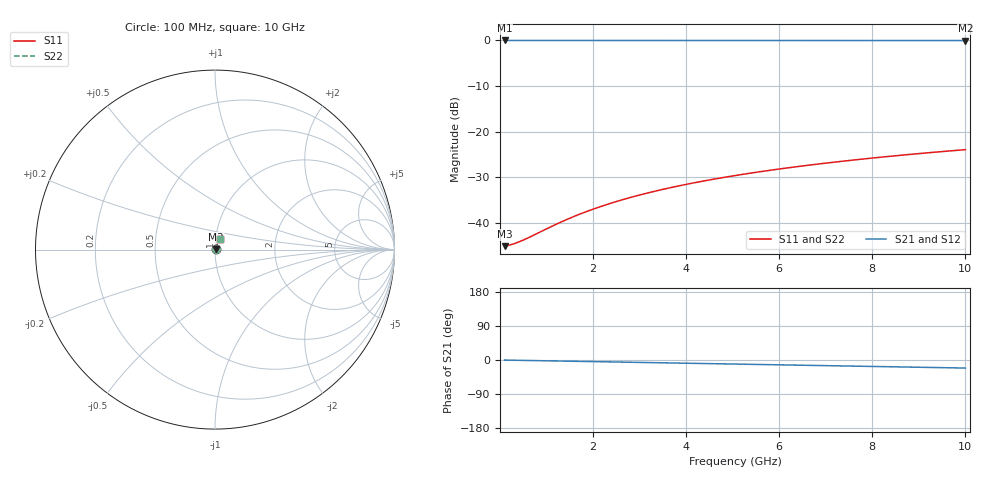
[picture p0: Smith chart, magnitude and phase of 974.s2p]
# Hz S RI R 50.00
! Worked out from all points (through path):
!   100 points, 100 MHz to 10 GHz, reference 50 ohm
!   highest |S21| = -0.05 dB at 100 MHz (marker M1); lowest = -0.1 dB at 10 GHz (marker M2)
!   group delay of S21, straight-line fit = 5.9 ps
!   lowest |S11| = -45.0 dB at 100 MHz (marker M3), VSWR 1.01, Z = 50.6 + j0.0637 ohm
!   |S11| at or under -10 dB: start of sweep to end of sweep
!   |S22| runs from -45.0 to -23.9 dB; largest |S21 - S12| = 0
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1e8  0.00558 0.00063  0.9944 -0.00369  0.9944 -0.00369  0.00558 0.00063
2e8  0.00562 0.00126  0.9944 -0.00738  0.9944 -0.00738  0.00562 0.00126
3e8  0.00566 0.00189  0.9943 -0.0111  0.9943 -0.0111  0.00566 0.00189
4e8  0.0057 0.00252  0.9942 -0.0148  0.9942 -0.0148  0.0057 0.00252
5e8  0.00574 0.00315  0.9941 -0.0184  0.9941 -0.0184  0.00574 0.00315
1.3e9  0.00617 0.00817  0.993 -0.0479  0.993 -0.0479  0.00617 0.00817
1.5e9  0.00632 0.00942  0.9926 -0.0553  0.9926 -0.0553  0.00632 0.00942
1.8e9  0.00657 0.0113  0.9919 -0.0663  0.9919 -0.0663  0.00657 0.0113
2.1e9  0.00687 0.0132  0.991 -0.0774  0.991 -0.0774  0.00687 0.0132
2.5e9  0.00732 0.0156  0.9897 -0.0921  0.9897 -0.0921  0.00732 0.0156
2.9e9  0.00785 0.0181  0.9881 -0.1067  0.9881 -0.1067  0.00785 0.0181
3.4e9  0.00861 0.0211  0.9859 -0.125  0.9859 -0.125  0.00861 0.0211
3.8e9  0.0093 0.0236  0.9838 -0.1396  0.9838 -0.1396  0.0093 0.0236
4.2e9  0.0101 0.026  0.9815 -0.1542  0.9815 -0.1542  0.0101 0.026
4.6e9  0.0109 0.0283  0.979 -0.1687  0.979 -0.1687  0.0109 0.0283
5.1e9  0.012 0.0313  0.9756 -0.1868  0.9756 -0.1868  0.012 0.0313
5.9e9  0.0141 0.0358  0.9694 -0.2156  0.9694 -0.2156  0.0141 0.0358
6.7e9  0.0164 0.0403  0.9624 -0.2442  0.9624 -0.2442  0.0164 0.0403
7.5e9  0.019 0.0446  0.9544 -0.2726  0.9544 -0.2726  0.019 0.0446
8.4e9  0.0222 0.0493  0.9445 -0.3042  0.9445 -0.3042  0.0222 0.0493
9.2e9  0.0253 0.0532  0.9347 -0.3319  0.9347 -0.3319  0.0253 0.0532
1e10  0.0286 0.0569  0.9242 -0.3593  0.9242 -0.3593  0.0286 0.0569
